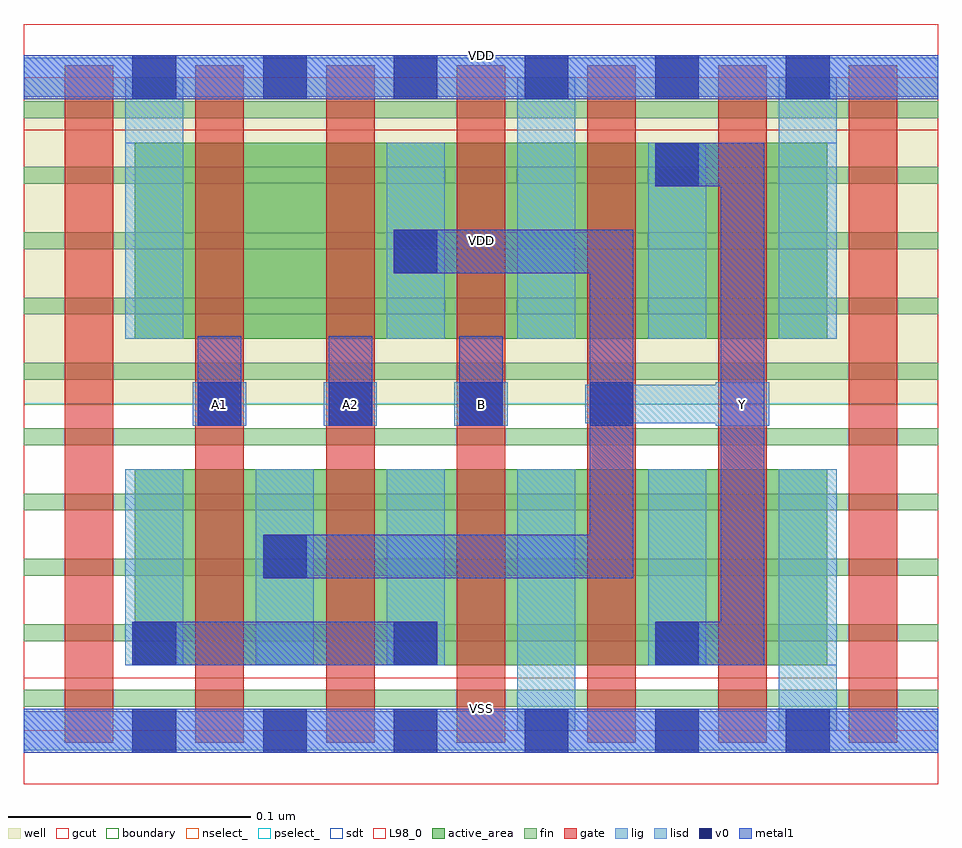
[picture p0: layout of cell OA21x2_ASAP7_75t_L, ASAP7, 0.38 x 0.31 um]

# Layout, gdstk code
import gdstk
lib = gdstk.Library(unit=1e-6, precision=2.5e-10)
def R(c, l, rs):  # rectangles x0, y0, x1, y1
    for r in rs: c.add(gdstk.rectangle(r[:2], r[2:], *l))
def A(c, l, x, y, w, h, nx, ny, dx, dy):  # array of equal rectangles
    R(c, l, [(x+i*dx, y+j*dy, x+i*dx+w, y+j*dy+h) for i in range(nx) for j in range(ny)])
def P(c, l, *ps):  # polygons
    for p in ps: c.add(gdstk.Polygon(p, *l))
well = (1, 0)
fin = (2, 0)
gate = (7, 0)
gcut = (10, 0)
active_area = (11, 0)
nselect_ = (12, 0)
pselect_ = (13, 0)
lig = (16, 0)
lisd = (17, 0)
v0 = (18, 0)
metal1 = (19, 0)
sdt = (88, 0)
L98_0 = (98, 0)
boundary = (100, 0)

oa21x2_asap7_75t_l = lib.new_cell('OA21x2_ASAP7_75t_L')
R(oa21x2_asap7_75t_l, well, [(0,0.135,0.378,0.27)])
A(oa21x2_asap7_75t_l, fin, 0, 0.01, 0.378, 0.007, 1, 10, 0, 0.027)
A(oa21x2_asap7_75t_l, gate, 0.017, -0.005, 0.02, 0.28, 7, 1, 0.054, 0)
R(oa21x2_asap7_75t_l, gcut, [(0,-0.022,0.378,0.022), (0,0.248,0.378,0.292)])
R(oa21x2_asap7_75t_l, active_area, [(0.046,0.027,0.332,0.108), (0.046,0.162,0.332,0.243)])
R(oa21x2_asap7_75t_l, nselect_, [(0,0,0.378,0.135)])
R(oa21x2_asap7_75t_l, pselect_, [(0,0.135,0.378,0.27)])
A(oa21x2_asap7_75t_l, lig, 0.07, 0.126, 0.022, 0.018, 3, 1, 0.054, 0)
R(oa21x2_asap7_75t_l, lig, [(0,-0.008,0.378,0.008), (0.286,0.126,0.308,0.144), (0.232,0.127,0.308,0.143), (0,0.262,0.378,0.278)])
A(oa21x2_asap7_75t_l, lisd, 0.042, 0.027, 0.024, 0.081, 3, 1, 0.054, 0)
R(oa21x2_asap7_75t_l, lisd, [(0.204,0,0.228,0.108), (0.204,0,0.228,0.108), (0.312,0,0.336,0.108), (0.312,0,0.336,0.108), (0.258,0.027,0.282,0.108), (0.042,0.162,0.066,0.27), (0.042,0.162,0.066,0.27), (0.15,0.162,0.174,0.243), (0.204,0.162,0.228,0.27), (0.204,0.162,0.228,0.27), (0.258,0.162,0.282,0.243), (0.312,0.162,0.336,0.27), (0.312,0.162,0.336,0.27)])
A(oa21x2_asap7_75t_l, v0, 0.045, -0.009, 0.018, 0.018, 6, 2, 0.054, 0.27)
A(oa21x2_asap7_75t_l, v0, 0.045, 0.027, 0.018, 0.018, 3, 1, 0.108, 0)
A(oa21x2_asap7_75t_l, v0, 0.072, 0.126, 0.018, 0.018, 4, 1, 0.054, 0)
R(oa21x2_asap7_75t_l, v0, [(0.099,0.063,0.117,0.081), (0.153,0.189,0.171,0.207), (0.261,0.225,0.279,0.243)])
A(oa21x2_asap7_75t_l, metal1, 0.045, 0.027, 0.018, 0.018, 3, 1, 0.108, 0)
A(oa21x2_asap7_75t_l, metal1, 0.072, 0.126, 0.018, 0.018, 4, 1, 0.054, 0)
A(oa21x2_asap7_75t_l, metal1, 0.072, 0.126, 0.018, 0.037, 3, 1, 0.054, 0)
R(oa21x2_asap7_75t_l, metal1, [(0,-0.009,0.378,0.009), (0.045,0.027,0.171,0.045), (0.099,0.063,0.117,0.081), (0.153,0.189,0.171,0.207), (0.261,0.225,0.279,0.243), (0,0.261,0.378,0.279)])
P(oa21x2_asap7_75t_l, metal1, [(0.153,0.207),(0.153,0.189),(0.234,0.189),(0.234,0.081),(0.099,0.081),(0.099,0.063),(0.252,0.063),(0.252,0.207)],
  [(0.261,0.243),(0.261,0.225),(0.288,0.225),(0.288,0.045),(0.261,0.045),(0.261,0.027),(0.306,0.027),(0.306,0.243)])
A(oa21x2_asap7_75t_l, sdt, 0.042, 0.027, 0.024, 0.081, 4, 1, 0.054, 0)
A(oa21x2_asap7_75t_l, sdt, 0.204, 0.027, 0.024, 0.081, 3, 2, 0.054, 0.135)
R(oa21x2_asap7_75t_l, sdt, [(0.312,0.027,0.336,0.108), (0.042,0.162,0.066,0.243), (0.042,0.162,0.066,0.243), (0.15,0.162,0.174,0.243), (0.204,0.162,0.228,0.243), (0.312,0.162,0.336,0.243)])
R(oa21x2_asap7_75t_l, L98_0, [(0,0,0.378,0.27)])
R(oa21x2_asap7_75t_l, boundary, [(0,0,0.378,0.27)])
oa21x2_asap7_75t_l.add(gdstk.Label('VDD', (0.189,0.2025), layer=1, texttype=251))
oa21x2_asap7_75t_l.add(gdstk.Label('VSS', (0.189,-0.0675), layer=3, texttype=251))
oa21x2_asap7_75t_l.add(gdstk.Label('VSS', (0.189,0.009), layer=19, texttype=251))
oa21x2_asap7_75t_l.add(gdstk.Label('VDD', (0.189,0.279), layer=19, texttype=251))
oa21x2_asap7_75t_l.add(gdstk.Label('A1', (0.081,0.135), layer=19, texttype=251))
oa21x2_asap7_75t_l.add(gdstk.Label('A2', (0.135,0.135), layer=19, texttype=251))
oa21x2_asap7_75t_l.add(gdstk.Label('B', (0.189,0.135), layer=19, texttype=251))
oa21x2_asap7_75t_l.add(gdstk.Label('Y', (0.297,0.135), layer=19, texttype=251))

lib.write_gds('OA21x2_ASAP7_75t_L.gds')
